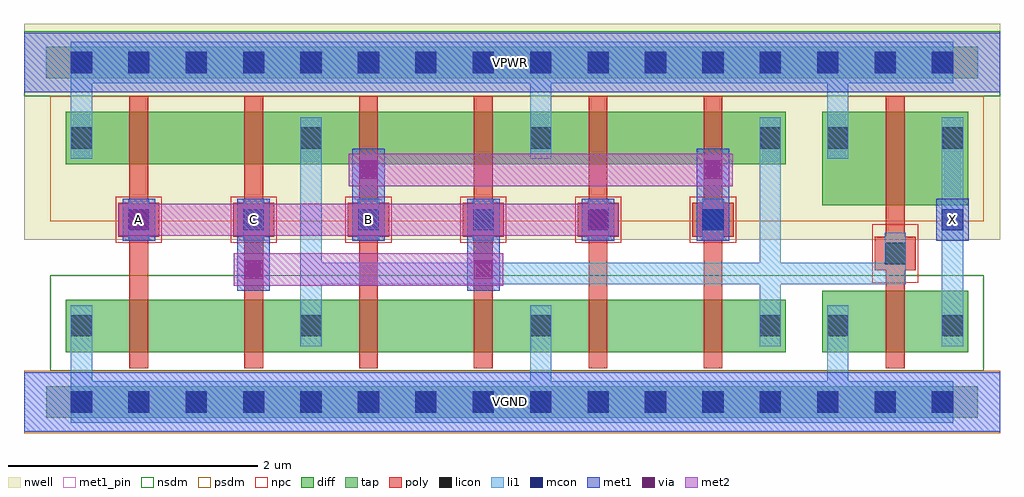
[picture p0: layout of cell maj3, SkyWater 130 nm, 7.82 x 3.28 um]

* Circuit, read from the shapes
.subckt maj3 A B C VGND VPWR X
XM1 n1 A VGND VGND sky130_fd_pr__nfet_01v8 w=0.42 l=0.15
XM2 n2 C n1 VGND sky130_fd_pr__nfet_01v8 w=0.42 l=0.15
XM3 n3 B n2 VGND sky130_fd_pr__nfet_01v8 w=0.42 l=0.15
XM4 VGND C n3 VGND sky130_fd_pr__nfet_01v8 w=0.42 l=0.15
XM5 n4 A VGND VGND sky130_fd_pr__nfet_01v8 w=0.42 l=0.15
XM6 n2 B n4 VGND sky130_fd_pr__nfet_01v8 w=0.42 l=0.15
XM7 X n2 VGND VGND sky130_fd_pr__nfet_01v8 w=0.49 l=0.15
XM8 n5 A VPWR VPWR sky130_fd_pr__pfet_01v8 w=0.42 l=0.15
XM9 n2 C n5 VPWR sky130_fd_pr__pfet_01v8 w=0.42 l=0.15
XM10 n6 B n2 VPWR sky130_fd_pr__pfet_01v8 w=0.42 l=0.15
XM11 VPWR C n6 VPWR sky130_fd_pr__pfet_01v8 w=0.42 l=0.15
XM12 n7 A VPWR VPWR sky130_fd_pr__pfet_01v8 w=0.42 l=0.15
XM13 n2 B n7 VPWR sky130_fd_pr__pfet_01v8 w=0.42 l=0.15
XM14 X n2 VPWR VPWR sky130_fd_pr__pfet_01v8 w=0.75 l=0.15
.ends

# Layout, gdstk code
import gdstk
lib = gdstk.Library(unit=1e-6, precision=1e-09)
def R(c, l, rs):  # rectangles x0, y0, x1, y1
    for r in rs: c.add(gdstk.rectangle(r[:2], r[2:], *l))
def A(c, l, x, y, w, h, nx, ny, dx, dy):  # array of equal rectangles
    R(c, l, [(x+i*dx, y+j*dy, x+i*dx+w, y+j*dy+h) for i in range(nx) for j in range(ny)])
nwell = (64, 20)
diff = (65, 20)
tap = (65, 44)
poly = (66, 20)
licon = (66, 44)
li1 = (67, 20)
mcon = (67, 44)
met1_pin = (68, 16)
met1 = (68, 20)
via = (68, 44)
met2 = (69, 20)
nsdm = (93, 44)
psdm = (94, 20)
npc = (95, 20)

maj3 = lib.new_cell('maj3')
R(maj3, nwell, [(0,1.3,7.82,3.03)])
R(maj3, diff, [(0.335,0.4,6.105,0.82), (6.395,0.4,7.565,0.89), (6.395,1.575,7.565,2.325), (0.335,1.905,6.105,2.325)])
R(maj3, tap, [(0.18,-0.125,7.64,0.125), (0.18,2.595,7.64,2.845)])
A(maj3, poly, 0.845, 0.27, 0.15, 2.185, 6, 1, 0.92, 0)
A(maj3, poly, 0.755, 1.325, 0.33, 0.27, 6, 1, 0.92, 0)
R(maj3, poly, [(6.905,0.27,7.055,2.455), (6.815,1.055,7.145,1.325)])
A(maj3, licon, 0.375, -0.085, 0.17, 0.17, 16, 2, 0.46, 2.72)
A(maj3, licon, 0.375, 0.525, 0.17, 0.17, 4, 2, 1.84, 1.505)
A(maj3, licon, 0.835, 1.375, 0.17, 0.17, 6, 1, 0.92, 0)
R(maj3, licon, [(6.435,0.525,6.605,0.695), (7.355,0.525,7.525,0.695), (6.895,1.105,7.065,1.275), (6.435,2.03,6.605,2.2), (7.355,2.03,7.525,2.2)])
A(maj3, li1, 0.835, 1.29, 0.17, 0.34, 6, 1, 0.92, 0)
R(maj3, li1, [(0.375,-0.165,7.445,0.165), (0.375,0,0.545,0.775), (4.055,0,4.225,0.775), (6.435,0,6.605,0.775), (2.215,0.445,2.385,2.28), (5.895,0.445,6.065,2.28), (7.355,0.445,7.525,2.28), (2.215,0.945,7.065,1.115), (6.895,0.945,7.065,1.355), (0.375,1.95,0.545,2.72), (4.055,1.95,4.225,2.72), (6.435,1.95,6.605,2.72), (0.375,2.555,7.445,2.885)])
A(maj3, mcon, 0.375, -0.085, 0.17, 0.17, 16, 2, 0.46, 2.72)
A(maj3, mcon, 0.835, 1.375, 0.17, 0.17, 6, 1, 0.92, 0)
R(maj3, mcon, [(7.355,1.375,7.525,1.545)])
A(maj3, met1_pin, 0.79, 1.29, 0.26, 0.34, 3, 1, 0.92, 0)
R(maj3, met1_pin, [(0,-0.24,7.82,0.24), (7.31,1.29,7.57,1.63), (0,2.48,7.82,2.96)])
R(maj3, met1, [(0,-0.24,7.82,0.24), (1.71,0.89,1.97,1.63), (3.55,0.89,3.81,1.63), (0.79,1.29,1.05,1.63), (2.63,1.29,2.89,2.03), (4.47,1.29,4.73,1.63), (5.39,1.29,5.65,2.03), (7.31,1.29,7.57,1.63), (0,2.48,7.82,2.96)])
R(maj3, via, [(1.765,0.985,1.915,1.135), (3.605,0.985,3.755,1.135), (0.845,1.385,0.995,1.535), (4.525,1.385,4.675,1.535), (2.685,1.785,2.835,1.935), (5.445,1.785,5.595,1.935)])
R(maj3, met2, [(1.68,0.93,3.84,1.19), (0.76,1.33,4.76,1.59), (2.6,1.73,5.68,1.99)])
R(maj3, nsdm, [(0.21,0.25,7.69,1.015), (0,2.45,7.82,2.97)])
R(maj3, psdm, [(0,-0.25,7.82,0.25), (0.21,1.45,7.69,2.45)])
A(maj3, npc, 0.735, 1.275, 0.37, 0.37, 6, 1, 0.92, 0)
R(maj3, npc, [(6.795,0.955,7.165,1.425)])
maj3.add(gdstk.Label('A', (0.92,1.46), layer=68, texttype=5))
maj3.add(gdstk.Label('B', (2.76,1.46), layer=68, texttype=5))
maj3.add(gdstk.Label('C', (1.84,1.46), layer=68, texttype=5))
maj3.add(gdstk.Label('X', (7.44,1.46), layer=68, texttype=5))
maj3.add(gdstk.Label('VGND', (3.9,0), layer=68, texttype=5))
maj3.add(gdstk.Label('VPWR', (3.9,2.72), layer=68, texttype=5))
maj3.add(gdstk.Label('A', (0.92,1.46), layer=68, texttype=16))
maj3.add(gdstk.Label('B', (2.76,1.46), layer=68, texttype=16))
maj3.add(gdstk.Label('C', (1.84,1.46), layer=68, texttype=16))
maj3.add(gdstk.Label('X', (7.44,1.46), layer=68, texttype=16))
maj3.add(gdstk.Label('VGND', (3.9,0), layer=68, texttype=16))
maj3.add(gdstk.Label('VPWR', (3.9,2.72), layer=68, texttype=16))

lib.write_gds('maj3.gds')
